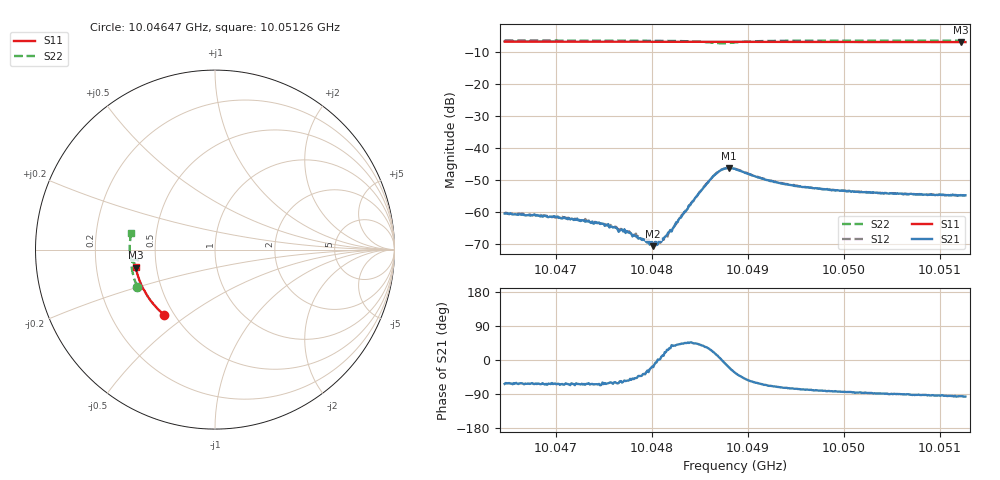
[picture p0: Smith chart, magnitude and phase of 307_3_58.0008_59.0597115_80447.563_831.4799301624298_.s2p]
#  HZ  S  RI  R  50.00
! Rohde & Schwarz Vector Network Analyzer
! Rohde-Schwarz,ZNB20-2Port,1311601062101988,3.16
! Created: UTC 3/21/2024, 1:04:03 AM
! freq[Hz]  re:S11  im:S11  re:S21  im:S21  re:S12  im:S12  re:S22  im:S22
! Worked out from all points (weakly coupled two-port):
!   401 points, 10.04647 GHz to 10.05126 GHz, reference 50 ohm
!   highest |S21| = -46.28 dB at 10.04881 GHz (marker M1); lowest = -70.7 dB at 10.04801 GHz (marker M2)
!   lowest |S11| = -6.9 dB at 10.05122 GHz (marker M3), VSWR 2.65, Z = 19.1 - j4.8 ohm
!   |S11| at or under -10 dB: nowhere
!   |S22| runs from -7.3 to -6.4 dB; largest |S21 - S12| = 0.00034
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1.0046467e10  -0.284 -0.3632  0.000427 -0.000841  0.000498 -0.000813  -0.4325 -0.2075
1.0046994e10  -0.3099 -0.3399  0.00039 -0.000744  0.000393 -0.000718  -0.4458 -0.1744
1.004727e10  -0.3226 -0.3269  0.000342 -0.000661  0.000353 -0.00065  -0.4518 -0.1565
1.0047594e10  -0.3371 -0.3111  0.000261 -0.000508  0.000326 -0.000499  -0.4578 -0.1346
1.0047762e10  -0.3442 -0.3027  0.000279 -0.000383  0.000313 -0.000388  -0.4602 -0.1228
1.0047858e10  -0.3482 -0.2976  0.000283 -0.000258  0.000317 -0.000269  -0.4615 -0.1156
1.0047978e10  -0.3532 -0.2914  0.000282 -0.000124  0.000294 -0.000108  -0.4628 -0.1066
1.0048014e10  -0.3545 -0.2896  0.000276 -9.42e-05  0.000332 -7.14e-05  -0.4631 -0.1038
1.0048038e10  -0.3555 -0.2883  0.00034 -4.11e-05  0.000343 -4.63e-05  -0.4634 -0.1019
1.0048074e10  -0.357 -0.2864  0.000352 3.78e-06  0.000358 3.73e-06  -0.4634 -0.099
1.0048146e10  -0.3598 -0.2827  0.000392 0.000149  0.00035 0.000171  -0.4637 -0.0931
1.0048205e10  -0.3622 -0.2794  0.000384 0.000313  0.000405 0.000339  -0.4636 -0.088
1.0048385e10  -0.3691 -0.2696  0.000891 0.000885  0.000833 0.000936  -0.4607 -0.0715
1.0048625e10  -0.3775 -0.2565  0.00312 0.00139  0.00308 0.00158  -0.44 -0.0543
1.0048721e10  -0.3806 -0.2512  0.00455 0.000119  0.00453 0.000419  -0.4291 -0.0621
1.0048805e10  -0.3836 -0.2467  0.00456 -0.00165  0.00467 -0.0014  -0.432 -0.0742
1.0048865e10  -0.3855 -0.2436  0.00393 -0.00261  0.00408 -0.00235  -0.4398 -0.0783
1.0049213e10  -0.3971 -0.2236  0.00116 -0.00289  0.00135 -0.00282  -0.468 -0.0546
1.0049668e10  -0.4103 -0.1968  0.000421 -0.00233  0.000579 -0.00231  -0.4747 -0.0184
1.0050472e10  -0.4292 -0.1474  -2.53e-06 -0.00194  0.000127 -0.00195  -0.4742 0.038
1.0051215e10  -0.4413 -0.1002  -0.000182 -0.00183  -9.12e-05 -0.00179  -0.4674 0.0874
1.0051263e10  -0.4421 -0.0973  -0.000201 -0.00181  -0.000128 -0.0018  -0.4666 0.0904
